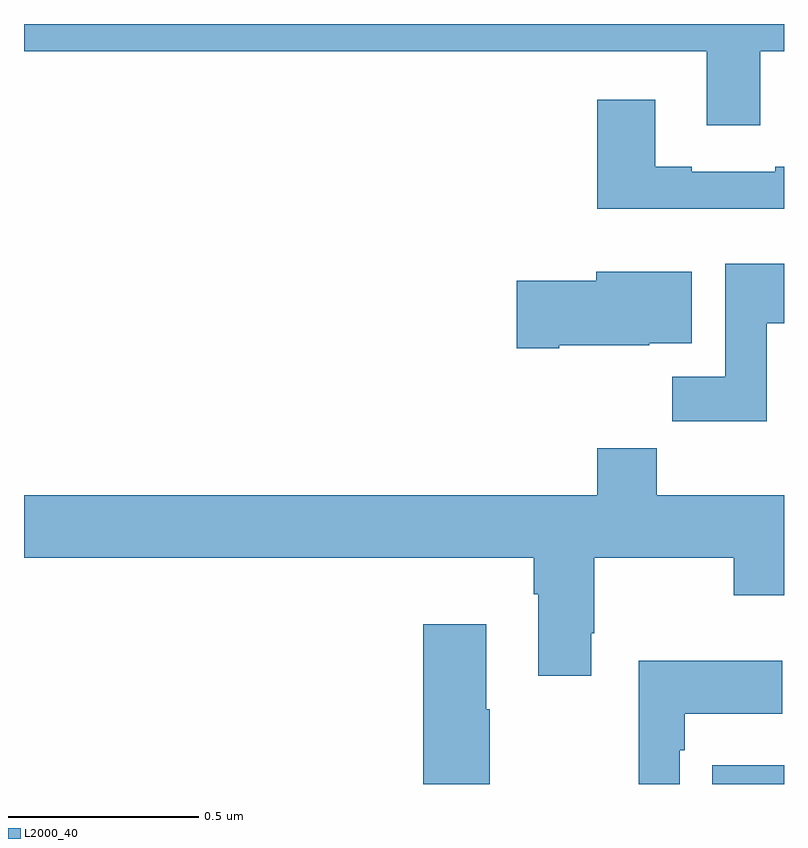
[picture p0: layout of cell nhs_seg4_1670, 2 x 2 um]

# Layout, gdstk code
import gdstk
lib = gdstk.Library(unit=1e-6, precision=1e-09)
def R(c, l, rs):  # rectangles x0, y0, x1, y1
    for r in rs: c.add(gdstk.rectangle(r[:2], r[2:], *l))
def P(c, l, *ps):  # polygons
    for p in ps: c.add(gdstk.Polygon(p, *l))
L2000_40 = (2000, 40)

nhs_seg4_1670 = lib.new_cell('nhs_seg4_1670')
R(nhs_seg4_1670, L2000_40, [(132.811,786.9,133,786.949)])
P(nhs_seg4_1670, L2000_40, [(132.937,788.828),(133,788.828),(133,788.9),(131,788.9),(131,788.828),(132.797,788.828),(132.797,788.634),(132.937,788.634)],
  [(133,788.524),(132.977,788.524),(132.977,788.511),(132.757,788.511),(132.757,788.524),(132.661,788.524),(132.661,788.701),(132.509,788.701),(132.509,788.414),(133,788.414)],
  [(132.955,788.113),(133,788.113),(133,788.269),(132.845,788.269),(132.845,787.972),(132.706,787.972),(132.706,787.854),(132.955,787.854)],
  [(132.409,788.054),(132.645,788.054),(132.645,788.06),(132.757,788.06),(132.757,788.248),(132.506,788.248),(132.506,788.225),(132.297,788.225),(132.297,788.047),(132.409,788.047)],
  [(132.493,787.297),(132.501,787.297),(132.501,787.496),(132.868,787.496),(132.868,787.397),(133,787.397),(133,787.66),(132.665,787.66),(132.665,787.784),(132.509,787.784),(132.509,787.66),(131,787.66),(131,787.496),(132.341,787.496),(132.341,787.4),(132.353,787.4),(132.353,787.185),(132.493,787.185)],
  [(132.225,787.097),(132.217,787.097),(132.217,787.321),(132.05,787.321),(132.05,786.9),(132.225,786.9)],
  [(132.726,786.989),(132.739,786.989),(132.739,787.085),(132.995,787.085),(132.995,787.225),(132.618,787.225),(132.618,786.9),(132.726,786.9)])

lib.write_gds('nhs_seg4_1670.gds')
